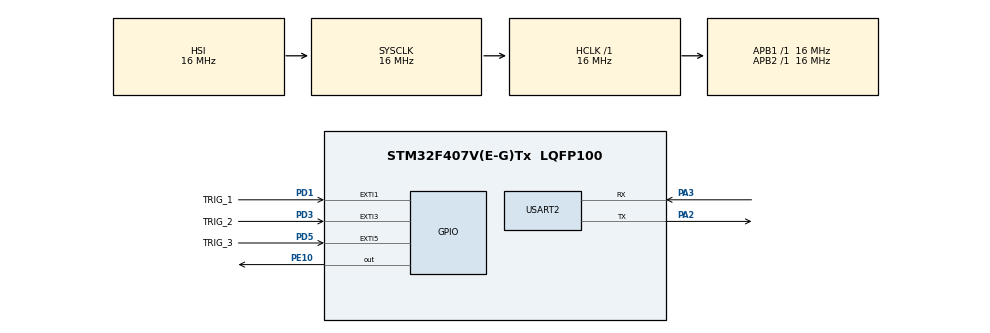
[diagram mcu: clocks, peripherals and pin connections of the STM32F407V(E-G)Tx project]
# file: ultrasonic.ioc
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Mcu.Family=STM32F4
Mcu.Name=STM32F407V(E-G)Tx
Mcu.Package=LQFP100
NVIC.EXTI1_IRQn=true\:0\:0\:false\:false\:true\:true\:true\:true
NVIC.EXTI3_IRQn=true\:0\:0\:false\:false\:true\:true\:true\:true
NVIC.EXTI9_5_IRQn=true\:0\:0\:false\:false\:true\:true\:true\:true
NVIC.PriorityGroup=NVIC_PRIORITYGROUP_4
PA2.Mode=Asynchronous
PA2.Signal=USART2_TX
PA3.Mode=Asynchronous
PA3.Signal=USART2_RX
PD1.GPIO_Label=TRIG_1
PD1.GPIO_ModeDefaultEXTI=GPIO_MODE_IT_RISING_FALLING
PD1.Signal=GPXTI1
PD3.GPIO_Label=TRIG_2
PD3.GPIO_ModeDefaultEXTI=GPIO_MODE_IT_RISING_FALLING
PD3.Signal=GPXTI3
PD5.GPIO_Label=TRIG_3
PD5.GPIO_ModeDefaultEXTI=GPIO_MODE_IT_RISING_FALLING
PD5.Signal=GPXTI5
PE10.Signal=GPIO_Output
ProjectManager.HeapSize=0x200
ProjectManager.StackSize=0x400
ProjectManager.TargetToolchain=STM32CubeIDE
RCC.AHBFreq_Value=16000000
RCC.APB1Freq_Value=16000000
RCC.APB2Freq_Value=16000000
RCC.CortexFreq_Value=16000000
RCC.HSE_VALUE=25000000
RCC.HSI_VALUE=16000000
RCC.LSE_VALUE=32768
RCC.SYSCLKFreq_VALUE=16000000
RCC.VCOOutputFreq_Value=192000000
TIM1.Prescaler=15
USART2.VirtualMode=VM_ASYNC
VP_TIM1_VS_ClockSourceINT.Mode=Internal
board=custom

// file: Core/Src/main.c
/* USER CODE BEGIN Header */
/**
  ******************************************************************************
  * @file           : main.c
  * @brief          : Main program body
  ******************************************************************************
  * @attention
  *
  * Copyright (c) 2023 STMicroelectronics.
  * All rights reserved.
  *
  * This software is licensed under terms that can be found in the LICENSE file
  * in the root directory of this software component.
  * If no LICENSE file comes with this software, it is provided AS-IS.
  *
  ******************************************************************************
  */
/* USER CODE END Header */
#include "main.h"
#include "stdio.h"

TIM_HandleTypeDef htim1;

UART_HandleTypeDef huart2;

/* USER CODE BEGIN PV */
uint8_t icFlag = 0;
uint8_t pulseFlag = 0;
uint8_t captureIdx[3]={0,0,0};
uint32_t edge1Time[3]={0,0,0}, edge2Time[3]={0,0,0};
uint8_t tx_buffer[10];
const float speedOfSound = 0.0343/2;
uint16_t difference[3];
float distance[3];
uint8_t idx = 0;

void delay (uint16_t time)
{
	__HAL_TIM_SET_COUNTER(&htim1, 0);
	while (__HAL_TIM_GET_COUNTER (&htim1) < time);
}

int _write(int file, char *ptr, int len){
	HAL_UART_Transmit(&huart2, (uint8_t*)ptr, len, HAL_MAX_DELAY);
	return 0;
}

void echoPulse(){
	//*** START Ultrasonic measure routine ***//
	//1. Output 10 usec TRIG
	HAL_TIM_Base_Start(&htim1);
	HAL_GPIO_WritePin(ECHO_GPIO_Port, ECHO_Pin, SET);
	delay(11);
	HAL_GPIO_WritePin(ECHO_GPIO_Port, ECHO_Pin, RESET);
	pulseFlag = 1;
	//2. ECHO signal pulse width
	uint32_t startTick = HAL_GetTick();
	do
	{
		if(icFlag >= 3) break;
	}while((HAL_GetTick() - startTick) < 500);  //500ms
	icFlag = 0;
	pulseFlag = 0;
	HAL_TIM_Base_Stop(&htim1);

	//Calculate distance in cm
	for(int i = 0; i < 3; i++){
		if(edge2Time[i] > edge1Time[i])
		{
			difference[i] = edge2Time[i] - edge1Time[i];
			distance[i] = ((edge2Time[i] - edge1Time[i]) + 0.0f)*speedOfSound;
		}
		else
		{
			distance[i] = 0.0f;
			difference[i] = 0;
		}
	}
}

void HAL_GPIO_EXTI_Callback(uint16_t GPIO_Pin)
{
	if(pulseFlag == 0){
		return;
	}

	if(GPIO_Pin == TRIG_1_Pin){
		printf("TRig_1\r\n");
		printf("%d\r\n", icFlag);
		idx = 0;
	}else if(GPIO_Pin == TRIG_2_Pin){
		printf("TRig_2\r\n");
		printf("%d\r\n", icFlag);
		idx = 1;
	}else if(GPIO_Pin == TRIG_3_Pin){
		printf("TRig_3\r\n");
		printf("%d\r\n", icFlag);
		idx = 2;
	}else{
		return;
	}

	if(captureIdx[idx] == 0) //Fisrt edge
	{
		edge1Time[idx] = __HAL_TIM_GET_COUNTER(&htim1);

		captureIdx[idx] = 1;
	}
	else if(captureIdx[idx] == 1) //Second edge
	{
		edge2Time[idx] = __HAL_TIM_GET_COUNTER(&htim1);

		captureIdx[idx] = 0;
		icFlag++;
	}
}

/* USER CODE END PV */

void SystemClock_Config(void);
static void MX_GPIO_Init(void);
static void MX_TIM1_Init(void);
static void MX_USART2_UART_Init(void);

int main(void)
{

  /* MCU Configuration--------------------------------------------------------*/

  /* Reset of all peripherals, Initializes the Flash interface and the Systick. */
  HAL_Init();

  /* Configure the system clock */
  SystemClock_Config();

  /* Initialize all configured peripherals */
  MX_GPIO_Init();
  MX_TIM1_Init();
  MX_USART2_UART_Init();

  /* Infinite loop */
  while (1)
  {
	  echoPulse();
	  for(int i = 0; i < 3; i++){
		  printf("Diff:%d,   Distance:%f\r\n",difference[i],distance[i]);
	  }
	  HAL_Delay(3000);
  }
}

void SystemClock_Config(void)
{
  RCC_OscInitTypeDef RCC_OscInitStruct = {0};
  RCC_ClkInitTypeDef RCC_ClkInitStruct = {0};

  /** Configure the main internal regulator output voltage
  */
  __HAL_RCC_PWR_CLK_ENABLE();
  __HAL_PWR_VOLTAGESCALING_CONFIG(PWR_REGULATOR_VOLTAGE_SCALE1);

  /** Initializes the RCC Oscillators according to the specified parameters
  * in the RCC_OscInitTypeDef structure.
  */
  RCC_OscInitStruct.OscillatorType = RCC_OSCILLATORTYPE_HSI;
  RCC_OscInitStruct.HSIState = RCC_HSI_ON;
  RCC_OscInitStruct.HSICalibrationValue = RCC_HSICALIBRATION_DEFAULT;
  RCC_OscInitStruct.PLL.PLLState = RCC_PLL_NONE;
  if (HAL_RCC_OscConfig(&RCC_OscInitStruct) != HAL_OK)
  {
    Error_Handler();
  }

  /** Initializes the CPU, AHB and APB buses clocks
  */
  RCC_ClkInitStruct.ClockType = RCC_CLOCKTYPE_HCLK|RCC_CLOCKTYPE_SYSCLK
                              |RCC_CLOCKTYPE_PCLK1|RCC_CLOCKTYPE_PCLK2;
  RCC_ClkInitStruct.SYSCLKSource = RCC_SYSCLKSOURCE_HSI;
  RCC_ClkInitStruct.AHBCLKDivider = RCC_SYSCLK_DIV1;
  RCC_ClkInitStruct.APB1CLKDivider = RCC_HCLK_DIV1;
  RCC_ClkInitStruct.APB2CLKDivider = RCC_HCLK_DIV1;

  if (HAL_RCC_ClockConfig(&RCC_ClkInitStruct, FLASH_LATENCY_0) != HAL_OK)
  {
    Error_Handler();
  }
}

static void MX_TIM1_Init(void)
{

  TIM_ClockConfigTypeDef sClockSourceConfig = {0};
  TIM_MasterConfigTypeDef sMasterConfig = {0};

  htim1.Instance = TIM1;
  htim1.Init.Prescaler = 15;
  htim1.Init.CounterMode = TIM_COUNTERMODE_UP;
  htim1.Init.Period = 65535;
  htim1.Init.ClockDivision = TIM_CLOCKDIVISION_DIV1;
  htim1.Init.RepetitionCounter = 0;
  htim1.Init.AutoReloadPreload = TIM_AUTORELOAD_PRELOAD_DISABLE;
  if (HAL_TIM_Base_Init(&htim1) != HAL_OK)
  {
    Error_Handler();
  }
  sClockSourceConfig.ClockSource = TIM_CLOCKSOURCE_INTERNAL;
  if (HAL_TIM_ConfigClockSource(&htim1, &sClockSourceConfig) != HAL_OK)
  {
    Error_Handler();
  }
  sMasterConfig.MasterOutputTrigger = TIM_TRGO_RESET;
  sMasterConfig.MasterSlaveMode = TIM_MASTERSLAVEMODE_DISABLE;
  if (HAL_TIMEx_MasterConfigSynchronization(&htim1, &sMasterConfig) != HAL_OK)
  {
    Error_Handler();
  }

}

static void MX_USART2_UART_Init(void)
{

  huart2.Instance = USART2;
  huart2.Init.BaudRate = 115200;
  huart2.Init.WordLength = UART_WORDLENGTH_8B;
  huart2.Init.StopBits = UART_STOPBITS_1;
  huart2.Init.Parity = UART_PARITY_NONE;
  huart2.Init.Mode = UART_MODE_TX_RX;
  huart2.Init.HwFlowCtl = UART_HWCONTROL_NONE;
  huart2.Init.OverSampling = UART_OVERSAMPLING_16;
  if (HAL_UART_Init(&huart2) != HAL_OK)
  {
    Error_Handler();
  }

}

static void MX_GPIO_Init(void)
{
  GPIO_InitTypeDef GPIO_InitStruct = {0};

  /* GPIO Ports Clock Enable */
  __HAL_RCC_GPIOA_CLK_ENABLE();
  __HAL_RCC_GPIOE_CLK_ENABLE();
  __HAL_RCC_GPIOD_CLK_ENABLE();

  /*Configure GPIO pin Output Level */
  HAL_GPIO_WritePin(GPIOE, GPIO_PIN_10, GPIO_PIN_RESET);

  /*Configure GPIO pin : PE10 */
  GPIO_InitStruct.Pin = GPIO_PIN_10;
  GPIO_InitStruct.Mode = GPIO_MODE_OUTPUT_PP;
  GPIO_InitStruct.Pull = GPIO_NOPULL;
  GPIO_InitStruct.Speed = GPIO_SPEED_FREQ_LOW;
  HAL_GPIO_Init(GPIOE, &GPIO_InitStruct);

  /*Configure GPIO pins : TRIG_1_Pin TRIG_2_Pin TRIG_3_Pin */
  GPIO_InitStruct.Pin = TRIG_1_Pin|TRIG_2_Pin|TRIG_3_Pin;
  GPIO_InitStruct.Mode = GPIO_MODE_IT_RISING_FALLING;
  GPIO_InitStruct.Pull = GPIO_PULLDOWN;
  HAL_GPIO_Init(GPIOD, &GPIO_InitStruct);

  /* EXTI interrupt init*/
  HAL_NVIC_SetPriority(EXTI1_IRQn, 0, 0);
  HAL_NVIC_EnableIRQ(EXTI1_IRQn);

  HAL_NVIC_SetPriority(EXTI3_IRQn, 1, 1);
  HAL_NVIC_EnableIRQ(EXTI3_IRQn);

  HAL_NVIC_SetPriority(EXTI9_5_IRQn, 2, 2);
  HAL_NVIC_EnableIRQ(EXTI9_5_IRQn);

}

void Error_Handler(void)
{
  __disable_irq();
  while (1)
  {
  }
}
